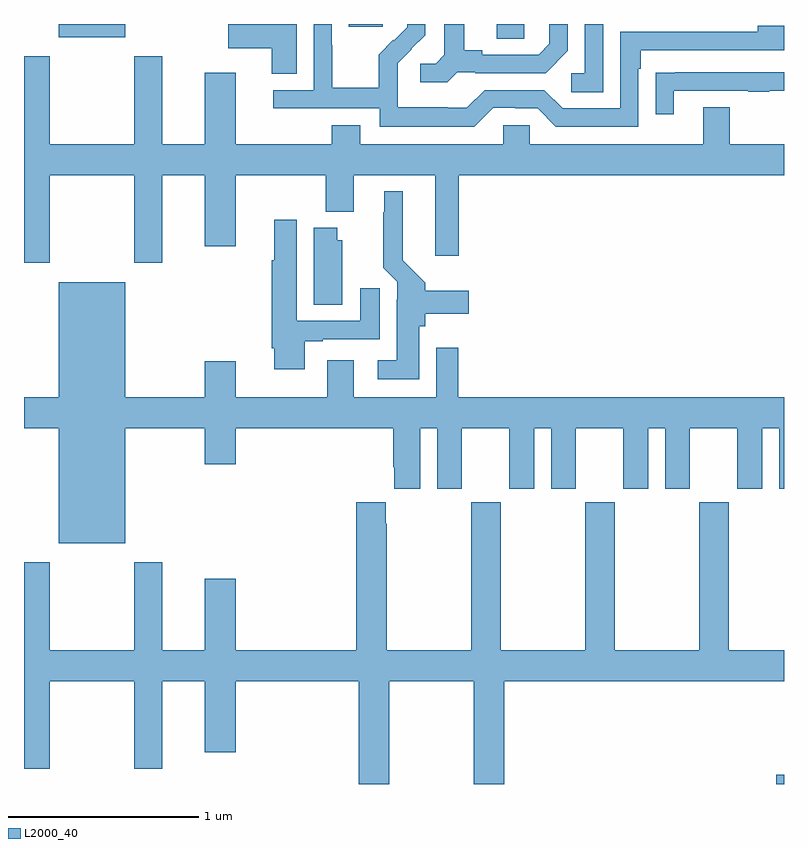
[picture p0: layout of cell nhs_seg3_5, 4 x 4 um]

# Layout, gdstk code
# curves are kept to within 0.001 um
import gdstk
lib = gdstk.Library(unit=1e-6, precision=1e-09)
def R(c, l, rs):  # rectangles x0, y0, x1, y1
    for r in rs: c.add(gdstk.rectangle(r[:2], r[2:], *l))
def P(c, l, *ps):  # polygons
    for p in ps: c.add(gdstk.Polygon(p, *l))
L2000_40 = (2000, 40)

nhs_seg3_5 = lib.new_cell('nhs_seg3_5')
R(nhs_seg3_5, L2000_40, [(114.96,676.4,115,676.448), (113.489,680.323,113.634,680.4), (111.182,680.33,111.532,680.4), (112.709,680.385,112.888,680.4)])
P(nhs_seg3_5, L2000_40, [(112.435,680.4),(112.074,680.4),(112.074,680.273),(112.304,680.273),(112.304,680.137),(112.435,680.137)],
  [(113.28,680.145),(113.374,680.145),(113.374,680.142),(113.746,680.142),(113.862,680.258),(113.862,680.4),(113.765,680.4),(113.765,680.295),(113.708,680.238),(113.413,680.238),(113.413,680.261),(113.317,680.261),(113.317,680.4),(113.213,680.4),(113.213,680.237),(113.166,680.19),(113.085,680.19),(113.085,680.093),(113.228,680.093)],
  [(113.469,679.959),(113.585,679.959),(113.585,679.956),(113.703,679.956),(113.799,679.86),(114.234,679.86),(114.234,680.165),(114.247,680.165),(114.247,680.262),(115,680.262),(115,680.392),(114.863,680.392),(114.863,680.358),(114.138,680.358),(114.138,679.956),(113.835,679.956),(113.739,680.052),(113.424,680.052),(113.331,679.959),(113.231,679.959),(113.231,679.963),(112.968,679.963),(112.968,680.097),(112.966,680.097),(112.966,680.194),(113.112,680.342),(113.112,680.4),(113.018,680.4),(113.018,680.384),(112.947,680.313),(112.944,680.316),(112.867,680.239),(112.867,680.065),(112.623,680.065),(112.623,680.288),(112.62,680.288),(112.62,680.4),(112.524,680.4),(112.524,680.052),(112.311,680.052),(112.311,679.956),(112.872,679.956),(112.872,679.859),(113.369,679.859)],
  [(114.048,680.4),(113.952,680.4),(113.952,680.142),(113.88,680.142),(113.88,680.041),(114.048,680.041)],
  [(111.135,679.604),(111.58,679.604),(111.58,679.143),(111.727,679.143),(111.727,679.604),(111.95,679.604),(111.95,679.23),(112.114,679.23),(112.114,679.604),(112.588,679.604),(112.588,679.412),(112.735,679.412),(112.735,679.604),(113.165,679.604),(113.165,679.179),(113.288,679.179),(113.288,679.604),(115,679.604),(115,679.768),(114.715,679.768),(114.715,679.963),(114.575,679.963),(114.575,679.768),(113.661,679.768),(113.661,679.866),(113.523,679.866),(113.523,679.768),(112.771,679.768),(112.771,679.867),(112.619,679.867),(112.619,679.768),(112.114,679.768),(112.114,680.143),(111.95,680.143),(111.95,679.768),(111.727,679.768),(111.727,680.23),(111.58,680.23),(111.58,679.768),(111.135,679.768),(111.135,680.23),(111,680.23),(111,679.143),(111.135,679.143)],
  [(114.421,680.049),(114.811,680.049),(114.811,680.044),(114.923,680.044),(114.923,680.049),(115,680.049),(115,680.145),(114.427,680.145),(114.427,680.144),(114.325,680.144),(114.325,679.926),(114.421,679.926)],
  [(113.08,678.81),(113.111,678.81),(113.111,678.875),(113.341,678.875),(113.341,678.997),(113.111,678.997),(113.111,679.038),(112.993,679.156),(112.993,679.519),(112.895,679.519),(112.895,679.409),(112.891,679.409),(112.891,679.118),(112.965,679.044),(112.965,678.95),(112.961,678.95),(112.961,678.631),(112.863,678.631),(112.863,678.53),(113.08,678.53)],
  [(112.477,678.729),(112.573,678.729),(112.573,678.741),(112.873,678.741),(112.873,679.009),(112.769,679.009),(112.769,678.837),(112.435,678.837),(112.435,679.369),(112.316,679.369),(112.316,679.156),(112.304,679.156),(112.304,678.694),(112.316,678.694),(112.316,678.582),(112.477,678.582)],
  [(112.675,679.263),(112.648,679.263),(112.648,679.327),(112.526,679.327),(112.526,678.922),(112.675,678.922)],
  [(111.532,678.272),(111.95,678.272),(111.95,678.084),(112.114,678.084),(112.114,678.272),(112.943,678.272),(112.943,678.067),(112.949,678.067),(112.949,677.955),(113.086,677.955),(113.086,678.272),(113.174,678.272),(113.174,677.955),(113.305,677.955),(113.305,678.272),(113.555,678.272),(113.555,677.955),(113.686,677.955),(113.686,678.272),(113.774,678.272),(113.774,677.955),(113.905,677.955),(113.905,678.272),(114.155,678.272),(114.155,677.955),(114.286,677.955),(114.286,678.272),(114.374,678.272),(114.374,677.955),(114.505,677.955),(114.505,678.272),(114.755,678.272),(114.755,677.955),(114.886,677.955),(114.886,678.272),(114.974,678.272),(114.974,677.955),(115,677.955),(115,678.436),(113.285,678.436),(113.285,678.697),(113.169,678.697),(113.169,678.436),(112.735,678.436),(112.735,678.631),(112.595,678.631),(112.595,678.436),(112.114,678.436),(112.114,678.625),(111.95,678.625),(111.95,678.436),(111.532,678.436),(111.532,679.042),(111.182,679.042),(111.182,678.436),(111,678.436),(111,678.272),(111.182,678.272),(111.182,677.666),(111.532,677.666)],
  [(112.923,676.94),(113.368,676.94),(113.368,676.4),(113.528,676.4),(113.528,676.94),(115,676.94),(115,677.104),(114.708,677.104),(114.708,677.884),(114.553,677.884),(114.553,677.104),(114.108,677.104),(114.108,677.884),(113.953,677.884),(113.953,677.104),(113.508,677.104),(113.508,677.884),(113.353,677.884),(113.353,677.104),(112.908,677.104),(112.908,677.771),(112.903,677.771),(112.903,677.884),(112.748,677.884),(112.748,677.104),(112.114,677.104),(112.114,677.479),(111.95,677.479),(111.95,677.104),(111.727,677.104),(111.727,677.566),(111.58,677.566),(111.58,677.104),(111.135,677.104),(111.135,677.566),(111,677.566),(111,676.479),(111.135,676.479),(111.135,676.94),(111.58,676.94),(111.58,676.479),(111.727,676.479),(111.727,676.94),(111.95,676.94),(111.95,676.566),(112.114,676.566),(112.114,676.94),(112.763,676.94),(112.763,676.4),(112.923,676.4)])

lib.write_gds('nhs_seg3_5.gds')
